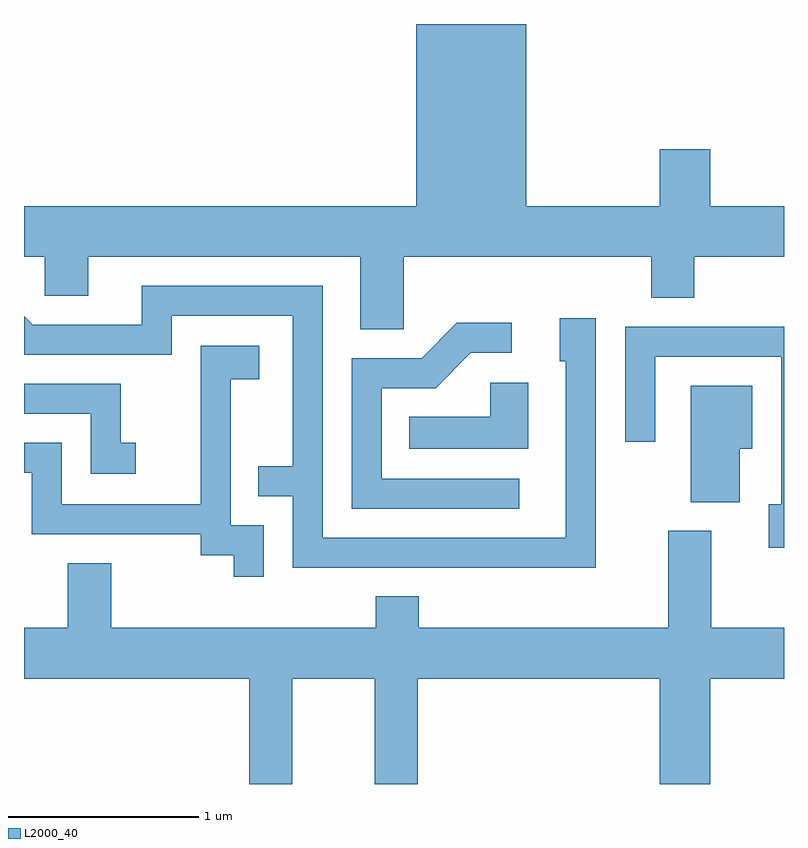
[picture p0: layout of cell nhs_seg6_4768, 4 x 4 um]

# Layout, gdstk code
import gdstk
lib = gdstk.Library(unit=1e-6, precision=1e-09)
def P(c, l, *ps):  # polygons
    for p in ps: c.add(gdstk.Polygon(p, *l))
L2000_40 = (2000, 40)

nhs_seg6_4768 = lib.new_cell('nhs_seg6_4768')
P(nhs_seg6_4768, L2000_40, [(333.609,1538.936),(334.911,1538.936),(334.911,1538.721),(335.139,1538.721),(335.139,1538.936),(335.611,1538.936),(335.611,1539.204),(335.224,1539.204),(335.224,1539.504),(334.956,1539.504),(334.956,1539.204),(334.254,1539.204),(334.254,1540.162),(333.676,1540.162),(333.676,1539.204),(331.611,1539.204),(331.611,1538.936),(331.721,1538.936),(331.721,1538.731),(331.949,1538.731),(331.949,1538.936),(333.381,1538.936),(333.381,1538.556),(333.609,1538.556)],
  [(334.619,1538.614),(334.431,1538.614),(334.431,1538.386),(334.461,1538.386),(334.461,1537.459),(333.184,1537.459),(333.184,1538.784),(332.231,1538.784),(332.231,1538.579),(331.657,1538.579),(331.611,1538.625),(331.611,1538.421),(332.389,1538.421),(332.389,1538.626),(333.026,1538.626),(333.026,1537.834),(332.843,1537.834),(332.843,1537.676),(333.026,1537.676),(333.026,1537.301),(334.619,1537.301)],
  [(334.218,1537.769),(333.494,1537.769),(333.494,1538.246),(333.777,1538.246),(333.962,1538.431),(334.178,1538.431),(334.178,1538.589),(333.889,1538.589),(333.704,1538.404),(333.336,1538.404),(333.336,1537.611),(334.218,1537.611)],
  [(335.611,1538.569),(334.776,1538.569),(334.776,1537.963),(334.934,1537.963),(334.934,1538.411),(335.596,1538.411),(335.596,1537.634),(335.531,1537.634),(335.531,1537.406),(335.611,1537.406)],
  [(332.874,1537.524),(332.699,1537.524),(332.699,1538.291),(332.849,1538.291),(332.849,1538.469),(332.541,1538.469),(332.541,1537.634),(331.809,1537.634),(331.809,1537.959),(331.611,1537.959),(331.611,1537.801),(331.651,1537.801),(331.651,1537.476),(332.541,1537.476),(332.541,1537.366),(332.716,1537.366),(332.716,1537.253),(332.874,1537.253)],
  [(334.264,1538.274),(334.066,1538.274),(334.066,1538.094),(333.638,1538.094),(333.638,1537.926),(334.264,1537.926)],
  [(332.198,1537.959),(332.119,1537.959),(332.119,1538.269),(331.611,1538.269),(331.611,1538.111),(331.961,1538.111),(331.961,1537.796),(332.198,1537.796)],
  [(335.379,1537.926),(335.444,1537.926),(335.444,1538.259),(335.121,1538.259),(335.121,1537.646),(335.379,1537.646)],
  [(333.024,1536.716),(333.456,1536.716),(333.456,1536.162),(333.684,1536.162),(333.684,1536.716),(334.956,1536.716),(334.956,1536.162),(335.224,1536.162),(335.224,1536.716),(335.611,1536.716),(335.611,1536.984),(335.229,1536.984),(335.229,1537.494),(335.001,1537.494),(335.001,1536.984),(333.689,1536.984),(333.689,1537.149),(333.461,1537.149),(333.461,1536.984),(332.069,1536.984),(332.069,1537.324),(331.841,1537.324),(331.841,1536.984),(331.611,1536.984),(331.611,1536.716),(332.796,1536.716),(332.796,1536.162),(333.024,1536.162)])

lib.write_gds('nhs_seg6_4768.gds')
